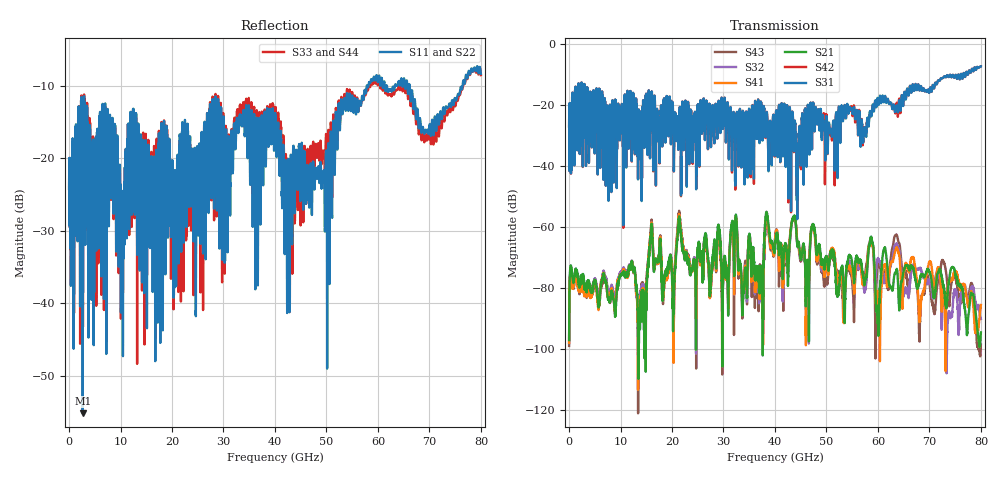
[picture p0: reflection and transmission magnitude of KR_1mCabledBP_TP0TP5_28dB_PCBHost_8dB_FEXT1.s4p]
!! Reference: shanbhag_3dj_02_2305.pdf
!! CHANNEL DESCRIPTION: TP0_TP5 KR Channel using 1meter Cabled BP, PCB Host
!! CABLE DESCRIPTION: 1meter 26AWG Cable
!! MODEL STATUS: Developmental
!! PORT DEFINITIONS:
!! Port  1  ----->  Side A  Side B  <-----  Port  2
!! Port  3  ----->  Side A  Side B  <-----  Port  4
# HZ S MA R 50.000000
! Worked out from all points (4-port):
!   8000 points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, 10 MHz to 80 GHz, reference 50 ohm
!   strongest paths, dB at 10 MHz, 20.01 GHz, 40.01 GHz, 60.01 GHz, 80 GHz:
!     S31: -27.2, -22.7, -31.2, -18.1, -7.4
!     S42: -27.2, -22.7, -31.4, -18.9, -7.4
!     S21: -97.2, -78.1, -67.3, -87.9, -94.7
!     S41: -98.1, -75.6, -65.4, -81.0, -85.7
!     S32: -98.2, -75.5, -65.2, -70.3, -90.3
!     S43: -99.1, -74.2, -64.1, -72.3, -98.7
!   lowest |S11| = -55.2 dB at 2.65 GHz (marker M1), VSWR 1.00, Z = 49.8 - j0.0224 ohm
!   |S11| at or under -10 dB: start of sweep to 57.87 GHz; 61.75 GHz to 63.29 GHz (1.545 GHz wide, 2.47 % of centre); 66.17 GHz to 76.44 GHz (10.27 GHz wide, 14.4 % of centre) (the widest 3 of 11)
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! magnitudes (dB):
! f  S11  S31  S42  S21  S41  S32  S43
! 10 MHz  -24.2  -27.2  -27.2  -97.2  -98.1  -98.2  -99.1
! 2.65 GHz  -55.2  -24.7  -24.6  -76.1  -78.8  -77.4  -76.9
! 18.45 GHz  -14.8  -18.1  -18.1  -78.8  -79.9  -79.8  -80.3
! 21.4 GHz  -20.1  -24.4  -24.4  -57.0  -56.2  -56.2  -55.2
! 27.43 GHz  -14.5  -23.7  -23.6  -81.1  -82.5  -81.1  -82.6
! 44.37 GHz  -23.7  -41.4  -41.3  -66.3  -66.0  -66.0  -66.2
! 80 GHz  -8.3  -7.4  -7.4  -94.7  -85.7  -90.3  -98.7
